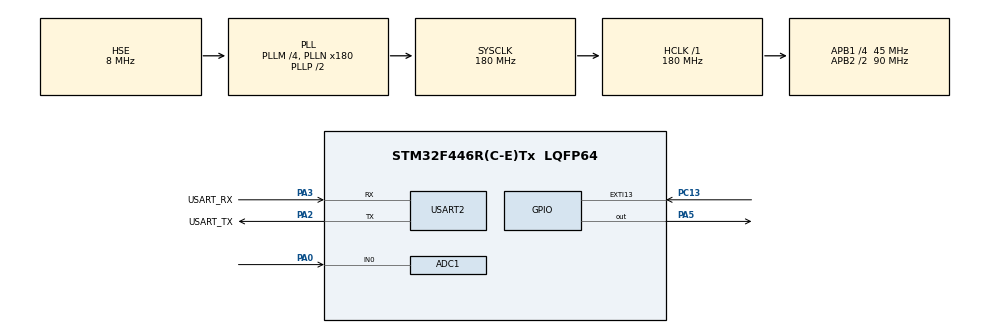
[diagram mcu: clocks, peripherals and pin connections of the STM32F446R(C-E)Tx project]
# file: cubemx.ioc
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ADC1.Channel-0\#ChannelRegularConversion=ADC_CHANNEL_0
ADC1.DMAContinuousRequests=ENABLE
ADC1.ExternalTrigConv=ADC_EXTERNALTRIGCONV_T2_TRGO
ADC1.NbrOfConversionFlag=1
ADC1.Rank-0\#ChannelRegularConversion=1
ADC1.SamplingTime-0\#ChannelRegularConversion=ADC_SAMPLETIME_28CYCLES
ADC1.master=1
Dma.ADC1.0.Direction=DMA_PERIPH_TO_MEMORY
Dma.ADC1.0.FIFOMode=DMA_FIFOMODE_DISABLE
Dma.ADC1.0.Instance=DMA2_Stream0
Dma.ADC1.0.MemDataAlignment=DMA_MDATAALIGN_HALFWORD
Dma.ADC1.0.MemInc=DMA_MINC_ENABLE
Dma.ADC1.0.Mode=DMA_CIRCULAR
Dma.ADC1.0.PeriphDataAlignment=DMA_PDATAALIGN_HALFWORD
Dma.ADC1.0.PeriphInc=DMA_PINC_DISABLE
Dma.ADC1.0.Priority=DMA_PRIORITY_HIGH
Dma.Request0=ADC1
Dma.Request1=USART2_TX
Dma.USART2_TX.1.Direction=DMA_MEMORY_TO_PERIPH
Dma.USART2_TX.1.FIFOMode=DMA_FIFOMODE_DISABLE
Dma.USART2_TX.1.Instance=DMA1_Stream6
Dma.USART2_TX.1.MemDataAlignment=DMA_MDATAALIGN_BYTE
Dma.USART2_TX.1.MemInc=DMA_MINC_ENABLE
Dma.USART2_TX.1.Mode=DMA_NORMAL
Dma.USART2_TX.1.PeriphDataAlignment=DMA_PDATAALIGN_BYTE
Dma.USART2_TX.1.PeriphInc=DMA_PINC_DISABLE
Dma.USART2_TX.1.Priority=DMA_PRIORITY_LOW
Mcu.Family=STM32F4
Mcu.Name=STM32F446R(C-E)Tx
Mcu.Package=LQFP64
NUCLEO-F446RE.BUTTON=1
NUCLEO-F446RE.LD1=true
NVIC.DMA1_Stream6_IRQn=true\:6\:0\:true\:false\:true\:false\:true\:true
NVIC.DMA2_Stream0_IRQn=true\:5\:0\:true\:false\:true\:false\:true\:true
NVIC.EXTI15_10_IRQn=true\:0\:0\:false\:false\:true\:false\:true\:true
NVIC.PriorityGroup=NVIC_PRIORITYGROUP_4
NVIC.TIM7_IRQn=true\:0\:0\:false\:false\:true\:false\:true\:true
NVIC.USART2_IRQn=true\:6\:0\:true\:false\:true\:false\:true\:true
NVIC.TimeBase=TIM7_IRQn
NVIC.TimeBaseIP=TIM7
PA0-WKUP.Signal=ADCx_IN0
PA13.GPIO_Label=TMS
PA13.Signal=SYS_JTMS-SWDIO
PA14.GPIO_Label=TCK
PA14.Signal=SYS_JTCK-SWCLK
PA2.GPIO_Label=USART_TX
PA2.Mode=Asynchronous
PA2.Signal=USART2_TX
PA3.GPIO_Label=USART_RX
PA3.Mode=Asynchronous
PA3.Signal=USART2_RX
PA5.Signal=GPIO_Output
PB3.GPIO_Label=SWO
PB3.Signal=SYS_JTDO-SWO
PC13.Signal=GPXTI13
PC14-OSC32_IN.Signal=RCC_OSC32_IN
PC15-OSC32_OUT.Signal=RCC_OSC32_OUT
PH0-OSC_IN.Mode=HSE-External-Clock-Source
PH0-OSC_IN.Signal=RCC_OSC_IN
PH1-OSC_OUT.Mode=HSE-External-Clock-Source
PH1-OSC_OUT.Signal=RCC_OSC_OUT
ProjectManager.HeapSize=0x200
ProjectManager.StackSize=0x400
ProjectManager.TargetToolchain=CMake
RCC.AHBFreq_Value=180000000
RCC.APB1CLKDivider=RCC_HCLK_DIV4
RCC.APB1Freq_Value=45000000
RCC.APB1TimFreq_Value=90000000
RCC.APB2CLKDivider=RCC_HCLK_DIV2
RCC.APB2Freq_Value=90000000
RCC.APB2TimFreq_Value=180000000
RCC.CortexFreq_Value=180000000
RCC.FLatency-AdvancedSettings=FLASH_LATENCY_5
RCC.HCLKFreq_Value=180000000
RCC.HSE_VALUE=8000000
RCC.HSI_VALUE=16000000
RCC.LSE_VALUE=32768
RCC.PLLM=4
RCC.PLLN=180
RCC.PLLSourceVirtual=RCC_PLLSOURCE_HSE
RCC.SYSCLKFreq_VALUE=180000000
RCC.SYSCLKSource=RCC_SYSCLKSOURCE_PLLCLK
RCC.USBFreq_Value=180000000
RCC.VCOOutputFreq_Value=360000000
SH.ADCx_IN0.0=ADC1_IN0,IN0
TIM2.Period=449
TIM2.TIM_MasterOutputTrigger=TIM_TRGO_UPDATE
USART2.VirtualMode=VM_ASYNC
VP_NUCLEO-F446RE_VS_BSP_COMMON.Mode=COMMON
VP_SYS_VS_tim7.Mode=TIM7
VP_TIM2_VS_ClockSourceINT.Mode=Internal
board=NUCLEO-F446RE

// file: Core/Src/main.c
/* USER CODE BEGIN Header */
/**
  ******************************************************************************
  * @file           : main.c
  * @brief          : Main program body
  ******************************************************************************
  * @attention
  *
  * Copyright (c) 2026 STMicroelectronics.
  * All rights reserved.
  *
  * This software is licensed under terms that can be found in the LICENSE file
  * in the root directory of this software component.
  * If no LICENSE file comes with this software, it is provided AS-IS.
  *
  ******************************************************************************
  */
/* USER CODE END Header */
#include "main.h"

/* USER CODE BEGIN Includes */
#if defined(STREAM_LAB_R6_HW)
#include "r6_hw_harness.h"
#elif defined(STREAM_LAB_R5_HW)
#include "r5_hw_harness.h"
#elif defined(STREAM_LAB_R4_HW)
#include "r4_hw_harness.h"
#elif defined(STREAM_LAB_R3_W6_HW)
#include "r3_w6_hw_harness.h"
#elif defined(STREAM_LAB_R3_W5_HW)
#include "r3_w5_hw_harness.h"
#elif defined(STREAM_LAB_R3_W4_HW)
#include "r3_w4_hw_harness.h"
#elif defined(STREAM_LAB_R3_W3_HW)
#include "r3_w3_hw_harness.h"
#elif defined(STREAM_LAB_R3_W2_HW)
#include "r3_w2_hw_harness.h"
#elif defined(STREAM_LAB_R2_W6)
#include "r2_w6_matrix.h"
#if defined(STREAM_LAB_R2_CT)
#include "r2_ct_control.h"
#endif
#elif defined(STREAM_LAB_R2_W5)
#include "r2_w5_capacity.h"
#elif defined(STREAM_LAB_R2_W4)
#include "r2_w4_roundtrip.h"
#elif defined(STREAM_LAB_R2_W3)
#include "r2_w3_rebind.h"
#else
#include "r1_bringup.h"
#endif
#include "r0_freertos_smoke.h"

/* USER CODE END Includes */

ADC_HandleTypeDef hadc1;
DMA_HandleTypeDef hdma_adc1;
#if defined(STREAM_LAB_R2_CT)
DMA_HandleTypeDef hdma_usart2_tx;
#endif

TIM_HandleTypeDef htim2;

UART_HandleTypeDef huart2;

void SystemClock_Config(void);
static void MX_GPIO_Init(void);
static void MX_DMA_Init(void);
static void MX_USART2_UART_Init(void);
static void MX_ADC1_Init(void);
static void MX_TIM2_Init(void);

int main(void)
{

  /* MCU Configuration--------------------------------------------------------*/

  /* Reset of all peripherals, Initializes the Flash interface and the Systick. */
  HAL_Init();

  /* Configure the system clock */
  SystemClock_Config();

  /* Initialize all configured peripherals */
  MX_GPIO_Init();
  MX_DMA_Init();
  MX_USART2_UART_Init();
  MX_ADC1_Init();
  MX_TIM2_Init();
  /* USER CODE BEGIN 2 */
#if defined(STREAM_LAB_R6_HW)
  R6_HW_Start();
#elif defined(STREAM_LAB_R5_HW)
  R5_HW_Start();
#elif defined(STREAM_LAB_R4_HW)
  R4_HW_Start();
#elif defined(STREAM_LAB_R3_W6_HW)
  R3_W6_HW_Start();
#elif defined(STREAM_LAB_R3_W5_HW)
  R3_W5_HW_Start();
#elif defined(STREAM_LAB_R3_W4_HW)
  R3_W4_HW_Start();
#elif defined(STREAM_LAB_R3_W3_HW)
  R3_W3_HW_Start();
#elif defined(STREAM_LAB_R3_W2_HW)
  R3_W2_HW_Start();
#else
#if defined(STREAM_LAB_R2_W6)
  R2_W6_CreateTasks();
#if defined(STREAM_LAB_R2_CT)
  R2_CT_CreateTask();
#endif
#elif defined(STREAM_LAB_R2_W5)
  R2_W5_CreateTasks();
#elif defined(STREAM_LAB_R2_W4)
  R2_W4_CreateTasks();
#elif defined(STREAM_LAB_R2_W3)
  R2_W3_CreateTask();
#else
  R1_Bringup_CreateTask();
#endif
  static uint8_t p0b_banner[] = "P0-B VCP READY\r\n";
  if (HAL_UART_Transmit(&huart2, p0b_banner,
                        (uint16_t)(sizeof(p0b_banner) - 1U),
                        1000U) != HAL_OK)
  {
    Error_Handler();
  }
    R0_FreeRTOS_StartSmoke();
#endif

  /* USER CODE END 2 */

  /* Initialize leds */
  BSP_LED_Init(LED2);

  /* Initialize USER push-button, will be used to trigger an interrupt each time it's pressed.*/
  BSP_PB_Init(BUTTON_USER, BUTTON_MODE_EXTI);

  /* Infinite loop */
  while (1)
  {

  }
}

void SystemClock_Config(void)
{
  RCC_OscInitTypeDef RCC_OscInitStruct = {0};
  RCC_ClkInitTypeDef RCC_ClkInitStruct = {0};

  /** Configure the main internal regulator output voltage
  */
  __HAL_RCC_PWR_CLK_ENABLE();
  __HAL_PWR_VOLTAGESCALING_CONFIG(PWR_REGULATOR_VOLTAGE_SCALE1);

  /** Initializes the RCC Oscillators according to the specified parameters
  * in the RCC_OscInitTypeDef structure.
  */
  RCC_OscInitStruct.OscillatorType = RCC_OSCILLATORTYPE_HSE;
  RCC_OscInitStruct.HSEState = RCC_HSE_BYPASS;
  RCC_OscInitStruct.PLL.PLLState = RCC_PLL_ON;
  RCC_OscInitStruct.PLL.PLLSource = RCC_PLLSOURCE_HSE;
  RCC_OscInitStruct.PLL.PLLM = 4;
  RCC_OscInitStruct.PLL.PLLN = 180;
  RCC_OscInitStruct.PLL.PLLP = RCC_PLLP_DIV2;
  RCC_OscInitStruct.PLL.PLLQ = 2;
  RCC_OscInitStruct.PLL.PLLR = 2;
  if (HAL_RCC_OscConfig(&RCC_OscInitStruct) != HAL_OK)
  {
    Error_Handler();
  }

  /** Activate the Over-Drive mode
  */
  if (HAL_PWREx_EnableOverDrive() != HAL_OK)
  {
    Error_Handler();
  }

  /** Initializes the CPU, AHB and APB buses clocks
  */
  RCC_ClkInitStruct.ClockType = RCC_CLOCKTYPE_HCLK|RCC_CLOCKTYPE_SYSCLK
                              |RCC_CLOCKTYPE_PCLK1|RCC_CLOCKTYPE_PCLK2;
  RCC_ClkInitStruct.SYSCLKSource = RCC_SYSCLKSOURCE_PLLCLK;
  RCC_ClkInitStruct.AHBCLKDivider = RCC_SYSCLK_DIV1;
  RCC_ClkInitStruct.APB1CLKDivider = RCC_HCLK_DIV4;
  RCC_ClkInitStruct.APB2CLKDivider = RCC_HCLK_DIV2;

  if (HAL_RCC_ClockConfig(&RCC_ClkInitStruct, FLASH_LATENCY_5) != HAL_OK)
  {
    Error_Handler();
  }
}

static void MX_ADC1_Init(void)
{

  ADC_ChannelConfTypeDef sConfig = {0};

  /** Configure the global features of the ADC (Clock, Resolution, Data Alignment and number of conversion)
  */
  hadc1.Instance = ADC1;
  hadc1.Init.ClockPrescaler = ADC_CLOCK_SYNC_PCLK_DIV4;
  hadc1.Init.Resolution = ADC_RESOLUTION_12B;
  hadc1.Init.ScanConvMode = DISABLE;
  hadc1.Init.ContinuousConvMode = DISABLE;
  hadc1.Init.DiscontinuousConvMode = DISABLE;
  hadc1.Init.ExternalTrigConvEdge = ADC_EXTERNALTRIGCONVEDGE_RISING;
  hadc1.Init.ExternalTrigConv = ADC_EXTERNALTRIGCONV_T2_TRGO;
  hadc1.Init.DataAlign = ADC_DATAALIGN_RIGHT;
  hadc1.Init.NbrOfConversion = 1;
  hadc1.Init.DMAContinuousRequests = ENABLE;
  hadc1.Init.EOCSelection = ADC_EOC_SINGLE_CONV;
  if (HAL_ADC_Init(&hadc1) != HAL_OK)
  {
    Error_Handler();
  }

  /** Configure for the selected ADC regular channel its corresponding rank in the sequencer and its sample time.
  */
  sConfig.Channel = ADC_CHANNEL_0;
  sConfig.Rank = 1;
  sConfig.SamplingTime = ADC_SAMPLETIME_28CYCLES;
  if (HAL_ADC_ConfigChannel(&hadc1, &sConfig) != HAL_OK)
  {
    Error_Handler();
  }

}

static void MX_TIM2_Init(void)
{

  TIM_ClockConfigTypeDef sClockSourceConfig = {0};
  TIM_MasterConfigTypeDef sMasterConfig = {0};

  htim2.Instance = TIM2;
  htim2.Init.Prescaler = 0;
  htim2.Init.CounterMode = TIM_COUNTERMODE_UP;
  htim2.Init.Period = 449;
  htim2.Init.ClockDivision = TIM_CLOCKDIVISION_DIV1;
  htim2.Init.AutoReloadPreload = TIM_AUTORELOAD_PRELOAD_DISABLE;
  if (HAL_TIM_Base_Init(&htim2) != HAL_OK)
  {
    Error_Handler();
  }
  sClockSourceConfig.ClockSource = TIM_CLOCKSOURCE_INTERNAL;
  if (HAL_TIM_ConfigClockSource(&htim2, &sClockSourceConfig) != HAL_OK)
  {
    Error_Handler();
  }
  sMasterConfig.MasterOutputTrigger = TIM_TRGO_UPDATE;
  sMasterConfig.MasterSlaveMode = TIM_MASTERSLAVEMODE_DISABLE;
  if (HAL_TIMEx_MasterConfigSynchronization(&htim2, &sMasterConfig) != HAL_OK)
  {
    Error_Handler();
  }

}

static void MX_USART2_UART_Init(void)
{

  huart2.Instance = USART2;
  huart2.Init.BaudRate = 115200;
  huart2.Init.WordLength = UART_WORDLENGTH_8B;
  huart2.Init.StopBits = UART_STOPBITS_1;
  huart2.Init.Parity = UART_PARITY_NONE;
  huart2.Init.Mode = UART_MODE_TX_RX;
  huart2.Init.HwFlowCtl = UART_HWCONTROL_NONE;
  huart2.Init.OverSampling = UART_OVERSAMPLING_16;
  if (HAL_UART_Init(&huart2) != HAL_OK)
  {
    Error_Handler();
  }

}

static void MX_DMA_Init(void)
{

  /* DMA controller clock enable */
  __HAL_RCC_DMA2_CLK_ENABLE();
#if defined(STREAM_LAB_R2_CT)
  __HAL_RCC_DMA1_CLK_ENABLE();
#endif

  /* DMA interrupt init */
  /* DMA2_Stream0_IRQn interrupt configuration */
  HAL_NVIC_SetPriority(DMA2_Stream0_IRQn, 5, 0);
  HAL_NVIC_EnableIRQ(DMA2_Stream0_IRQn);
#if defined(STREAM_LAB_R2_CT)
  /* Control TX DMA is intentionally lower urgency than acquisition DMA. */
  HAL_NVIC_SetPriority(DMA1_Stream6_IRQn, 6, 0);
  HAL_NVIC_EnableIRQ(DMA1_Stream6_IRQn);
#endif

}

static void MX_GPIO_Init(void)
{

  /* GPIO Ports Clock Enable */
  __HAL_RCC_GPIOC_CLK_ENABLE();
  __HAL_RCC_GPIOH_CLK_ENABLE();
  __HAL_RCC_GPIOA_CLK_ENABLE();
  __HAL_RCC_GPIOB_CLK_ENABLE();

}

void HAL_TIM_PeriodElapsedCallback(TIM_HandleTypeDef *htim)
{
  if (htim->Instance == TIM7)
  {
    HAL_IncTick();
  }
}

void Error_Handler(void)
{
  __disable_irq();
  while (1)
  {
  }
}
